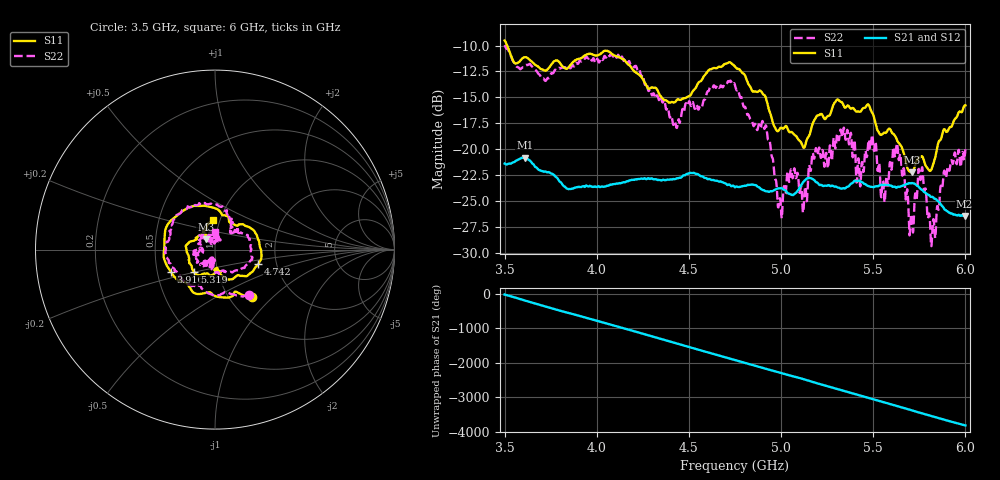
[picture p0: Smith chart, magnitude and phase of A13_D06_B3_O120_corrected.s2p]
! Created with skrf 1.9.0 (http://scikit-rf.org).
# Hz S RI R 50.0
!freq ReS11 ImS11 ReS21 ImS21 ReS12 ImS12 ReS22 ImS22
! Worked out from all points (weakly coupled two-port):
!   1601 points, 3.5 GHz to 6 GHz, reference 50 ohm
!   highest |S21| = -20.80 dB at 3.609 GHz (marker M1); lowest = -26.4 dB at 5.995 GHz (marker M2)
!   lowest |S11| = -22.2 dB at 5.709 GHz (marker M3), VSWR 1.17, Z = 44.8 + j5.16 ohm
!   |S11| at or under -10 dB: 3.514 GHz to end of sweep
!   |S22| runs from -29.3 to -10.0 dB; largest |S21 - S12| = 0.001
!   S11 on the Smith chart (normalised r, x): 3.5 GHz: 1.27, -0.75; 3.916 GHz: 0.59, -0.16; 4.742 GHz: 1.61, -0.27; 5.319 GHz: 0.77, -0.20; 6 GHz: 0.93, +0.31
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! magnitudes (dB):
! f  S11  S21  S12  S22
! 3.5 GHz  -9.5  -21.4  -21.3  -10.0
! 3.609 GHz  -11.1  -20.8  -20.8  -12.0
! 3.916 GHz  -11.2  -23.6  -23.6  -11.5
! 3.917 GHz  -11.2  -23.6  -23.6  -11.5
! 4.334 GHz  -14.5  -23.0  -22.9  -15.1
! 4.427 GHz  -15.4  -22.9  -22.8  -17.5
! 4.742 GHz  -11.9  -23.5  -23.5  -13.7
! 4.75 GHz  -12.0  -23.7  -23.6  -13.9
! 4.911 GHz  -14.8  -24.0  -23.9  -18.0
! 4.994 GHz  -18.0  -23.8  -23.7  -24.7
! 5.062 GHz  -18.4  -24.4  -24.4  -22.8
! 5.128 GHz  -19.8  -23.0  -23.0  -24.1
! 5.167 GHz  -17.7  -22.9  -22.8  -20.8
! 5.319 GHz  -15.4  -23.7  -23.7  -18.5
! 5.584 GHz  -18.0  -23.5  -23.4  -22.7
! 5.638 GHz  -19.4  -23.6  -23.6  -21.0
! 5.709 GHz  -22.2  -23.3  -23.2  -26.6
! 5.756 GHz  -20.7  -23.8  -23.7  -23.0
! 5.825 GHz  -21.4  -24.6  -24.6  -26.9
! 5.892 GHz  -18.2  -25.9  -25.8  -22.7
! 5.995 GHz  -15.8  -26.4  -26.3  -20.9
! 6 GHz  -15.8  -26.4  -26.4  -20.0
